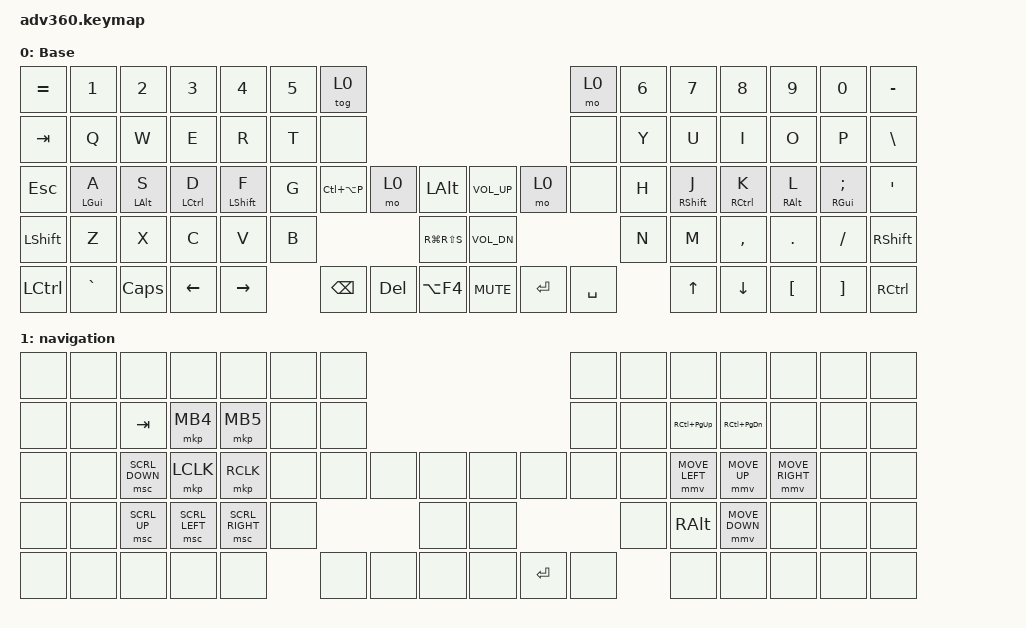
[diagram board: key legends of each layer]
#include <dt-bindings/zmk/stp.h>
#include <behaviors.dtsi>
#include <dt-bindings/zmk/keys.h>
#include <dt-bindings/zmk/pointing.h>

/ {
    behaviors {
        #include "macros.dtsi"
      #include "version.dtsi"

        hm: homerow_mods {
            compatible = "zmk,behavior-hold-tap";
            label = "HOMEROW_MODS";
            #binding-cells = <2>;
            tapping-term-ms = <200>;
            quick_tap_ms = <175>;
            flavor = "tap-preferred";
            bindings = <&kp>, <&kp>;
        };

        as_ht: autoshift_hold_tap {
            compatible = "zmk,behavior-hold-tap";
            label = "AUTOSHIFT_HOLD_TAP";
            bindings = <&shift>, <&kp>;

            #binding-cells = <2>;
            tapping-term-ms = <250>;
            flavor = "tap-preferred";
        };

        auto_control: auto_control_hold_tap {
            compatible = "zmk,behavior-hold-tap";
            label = "AUTO_CONTROL_HOLD_TAP";
            bindings = <&control>, <&kp>;

            #binding-cells = <2>;
            tapping-term-ms = <250>;
            flavor = "tap-preferred";
        };
    };

    combos {
        compatible = "zmk,combos";

        mouse_toggle {
            bindings = <&tog 1>;
            key-positions = <65 70>;
        };

        fluent_search {
            bindings = <&kp LA(LC(M))>;
            key-positions = <65 69>;
        };
    };

    macros {
        as: as {
            compatible = "zmk,behavior-macro-one-param";
            #binding-cells = <1>;
            bindings =
                <&macro_press>,
                <&macro_param_1to1 &macro_param_1to2 &as_ht MACRO_PLACEHOLDER MACRO_PLACEHOLDER>,
                <&macro_pause_for_release>,
                <&macro_release>,
                <&macro_param_1to1 &macro_param_1to2 &as_ht MACRO_PLACEHOLDER MACRO_PLACEHOLDER>;

            label = "AS";
        };

        shift: shift {
            compatible = "zmk,behavior-macro-one-param";
            #binding-cells = <1>;
            bindings =
                <&macro_press>,
                <&kp LEFT_SHIFT>,
                <&macro_tap>,
                <&macro_param_1to1 &kp MACRO_PLACEHOLDER>,
                <&macro_release>,
                <&kp LEFT_SHIFT>;

            label = "SHIFT";
        };

        control: control {
            compatible = "zmk,behavior-macro-one-param";
            #binding-cells = <1>;
            bindings =
                <&macro_press>,
                <&kp LEFT_CONTROL>,
                <&macro_tap>,
                <&macro_param_1to1 &kp MACRO_PLACEHOLDER>,
                <&macro_release>,
                <&kp LEFT_CONTROL>;

            label = "CONTROL";
        };

        ac: ac {
            compatible = "zmk,behavior-macro-one-param";
            #binding-cells = <1>;
            bindings =
                <&macro_press>,
                <&macro_param_1to1 &macro_param_1to2 &auto_control MACRO_PLACEHOLDER MACRO_PLACEHOLDER>,
                <&macro_pause_for_release>,
                <&macro_release>,
                <&macro_param_1to1 &macro_param_1to2 &auto_control MACRO_PLACEHOLDER MACRO_PLACEHOLDER>;

            label = "AC";
        };
    };

    keymap {
        compatible = "zmk,keymap";

        default_layer {
            display-name = "Base";
            bindings = <
&kp EQUAL         &kp N1          &kp N2          &kp N3       &kp N4            &kp N5  &tog 0                                                                 &mo 0      &kp N6  &kp N7             &kp N8               &kp N9           &kp N0              &kp MINUS
&kp TAB           &kp Q           &kp W           &kp E        &kp R             &kp T   &none                                                                  &none      &kp Y   &kp U              &kp I                &kp O            &kp P               &kp BSLH
&kp ESC           &hm LEFT_GUI A  &hm LEFT_ALT S  &hm LCTRL D  &hm LEFT_SHIFT F  &kp G   &kp LC(LA(P))  &mo 0    &kp LALT           &kp C_VOLUME_UP  &mo 0      &none      &kp H   &hm RIGHT_SHIFT J  &hm RIGHT_CONTROL K  &hm RIGHT_ALT L  &hm RIGHT_GUI SEMI  &kp SQT
&kp LSHFT         &kp Z           &kp X           &kp C        &kp V             &kp B                           &kp RG(RS(S))      &kp C_VOL_DN                           &kp N   &kp M              &kp COMMA            &kp DOT          &kp FSLH            &kp RSHFT
&kp LEFT_CONTROL  &kp GRAVE       &kp CAPS        &kp LEFT     &kp RIGHT                 &kp BSPC       &kp DEL  &kp LA(F4)         &kp C_MUTE       &kp ENTER  &kp SPACE          &kp UP             &kp DOWN             &kp LBKT         &kp RBKT            &kp RIGHT_CONTROL
            >;
        };

        navigation {
            bindings = <
&none  &none  &none           &none           &none            &none  &none                                      &none  &none  &none            &none              &none            &none  &none
&none  &none  &kp TAB         &mkp MB4        &mkp MB5         &none  &none                                      &none  &none  &kp RC(PAGE_UP)  &kp RC(PAGE_DOWN)  &none            &none  &none
&none  &none  &msc SCRL_DOWN  &mkp LCLK       &mkp RCLK        &none  &none  &none  &none      &none  &none      &none  &none  &mmv MOVE_LEFT   &mmv MOVE_UP       &mmv MOVE_RIGHT  &none  &none
&none  &none  &msc SCRL_UP    &msc SCRL_LEFT  &msc SCRL_RIGHT  &none                &none      &none                    &none  &kp RIGHT_ALT    &mmv MOVE_DOWN     &none            &none  &none
&none  &none  &none           &none           &none                   &none  &none  &none      &none  &kp ENTER  &none         &none            &none              &none            &none  &none
            >;
        };
    };
};
